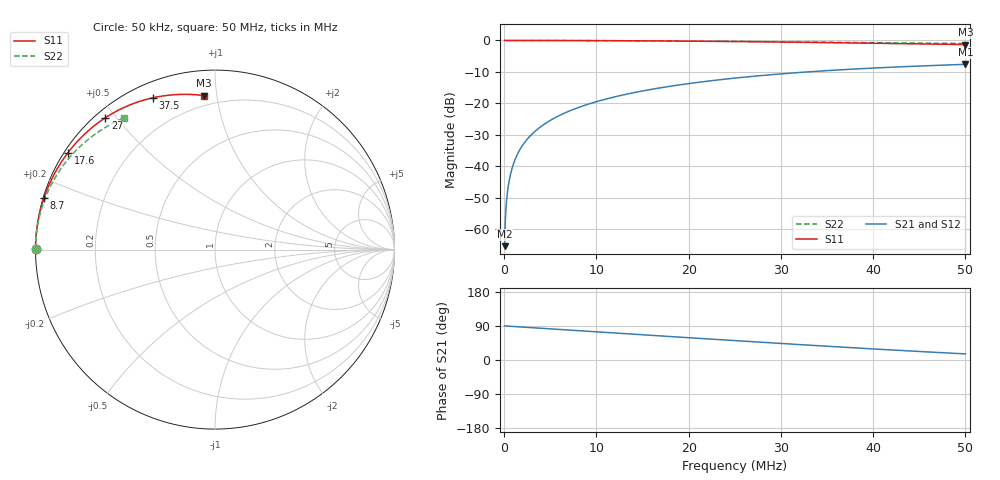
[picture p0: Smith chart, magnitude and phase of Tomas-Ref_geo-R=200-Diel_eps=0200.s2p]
! TOUCHSTONE file generated by CST MICROWAVE STUDIO
! Date and time: Wed Oct 05 22:47:27 2016
! Project name: tomas_icrh_linear_2016-plasma-Rdiel=200.cst
! Header version: 2015
! Port assignment regex: !\s*Touchstone port\s*([0-9]+)\s*=\s*CST MWS port\s*([0-9]+)\s*\(\"(.*)\"\)(\s*mode\s*([0-9]+))?.*
! Touchstone port assignment:
! Touchstone port 1 = CST MWS port 1 ("")
! Touchstone port 2 = CST MWS port 2 ("")
# MHZ S MA R 50
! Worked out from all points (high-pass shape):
!   1000 points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, 50 kHz to 50 MHz, reference 50 ohm
!   highest |S21| = -7.59 dB at 50 MHz (marker M1); lowest = -65.3 dB at 50 kHz (marker M2)
!   |S21| within 3 dB of the highest: 30.13 MHz to end of sweep
!   lowest |S11| = -1.3 dB at 50 MHz (marker M3), VSWR 13.30, Z = 6.99 + j46.1 ohm
!   |S11| at or under -10 dB: nowhere
!   |S22| runs from -1.0 to 0.0 dB; largest |S21 - S12| = 1e-06
!   S11 on the Smith chart (normalised r, x): 50 kHz: 0.00, +0.00; 8.7 MHz: 0.00, +0.15; 17.6 MHz: 0.01, +0.30; 27 MHz: 0.03, +0.47; 37.5 MHz: 0.07, +0.67; 50 MHz: 0.14, +0.92
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0.05  1 179.9  0.0005414 90.2  0.0005414 90.2  1 179.9
0.15  1 179.7  0.001629 89.9  0.001629 89.9  1 179.8
0.4  1 179.2  0.004346 89.4  0.004346 89.4  1 179.5
0.5  1 179.0  0.005432 89.2  0.005432 89.2  1 179.4
0.65  1 178.7  0.00706 89.0  0.00706 89.0  1 179.2
0.85  0.9999 178.4  0.00923 88.7  0.00923 88.7  0.9999 179.0
1.15  0.9999 177.8  0.01248 88.2  0.01248 88.2  0.9999 178.6
1.85  0.9998 176.4  0.02004 87.1  0.02004 87.1  0.9998 177.7
2.9  0.9995 174.4  0.03134 85.5  0.03134 85.5  0.9995 176.5
4.3  0.9989 171.7  0.04629 83.3  0.04629 83.3  0.9989 174.8
6.15  0.9977 168.2  0.06605 80.4  0.06605 80.4  0.9977 172.5
8.4  0.9957 163.9  0.08988 76.8  0.08988 76.8  0.9958 169.8
8.7  0.9954 163.3  0.09304 76.4  0.09304 76.4  0.9955 169.5
12.3  0.9909 156.5  0.1305 70.7  0.1305 70.7  0.9912 165.2
16.7  0.9831 148.3  0.1748 63.9  0.1748 63.9  0.9841 160.0
17.6  0.9812 146.6  0.1836 62.5  0.1836 62.5  0.9824 158.9
25.05  0.9617 133.1  0.2529 51.1  0.2529 51.1  0.9656 150.4
27  0.9554 129.7  0.2697 48.2  0.2697 48.2  0.9605 148.2
33.35  0.9313 118.9  0.3201 38.7  0.3201 38.7  0.9424 141.3
37.5  0.9137 112.2  0.3487 32.7  0.3487 32.7  0.9299 137.0
41.7  0.8955 105.8  0.3745 26.9  0.3745 26.9  0.9173 132.7
50  0.8602 94.0  0.4174 16.1  0.4174 16.1  0.8929 124.7
